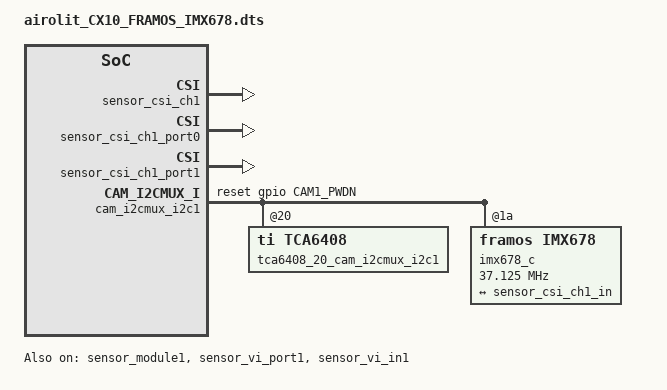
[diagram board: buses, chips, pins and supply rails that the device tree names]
// SPDX-License-Identifier: GPL-2.0
/*
 * Airolit CX10 - FRAMOS IMX678 Camera Overlay
 *
 * Requires: airolit_CX10_COMMON.dtbo loaded FIRST
 *
 * Enables:
 *   - sensor_module1
 *   - CSI channel 1 (port 1, 2 lanes)
 *   - VI port 1
 *   - I2C channel 1 with TCA6408 expander and FRAMOS IMX678 sensor
 *
 * Hardware:
 *   - Camera connector: CAM1
 *   - CSI port: 1
 *   - I2C address: 0x1a
 *   - Video node: video1
 */

/dts-v1/;
/plugin/;

#define CAM0_PWDN    TEGRA234_MAIN_GPIO(H, 6)
#define CAM1_PWDN    TEGRA234_MAIN_GPIO(AC, 0)
#define CAM_I2C_MUX  TEGRA234_AON_GPIO(CC, 3)

/* FRAMOS TCA6408 GPIO pins */
#define PW_EN        0
#define CRESETB      1
#define XMASTER      3

#include <dt-bindings/clock/tegra234-clock.h>
#include <dt-bindings/gpio/tegra234-gpio.h>
#include <dt-bindings/tegra234-p3767-0000-common.h>

/ {
    overlay-name = "Airolit CX10 FRAMOS IMX678 Camera";
    jetson-header-name = "Jetson 24pin CSI Connector";
    compatible = JETSON_COMPATIBLE_P3768;

    // ========================================================================
    // FRAGMENT 0: Enable sensor_module1 for FRAMOS IMX678
    // ========================================================================
    fragment@0 {
        target = <&sensor_module1>;
        __overlay__ {
            status = "okay";
            badge = "imx678_front_framos";
            drivernode0 {
                status = "okay";
                devname = "imx678 9-001a";
				sysfs-device-tree = "/sys/firmware/devicetree/base/bus@0/cam_i2cmux/i2c@1/imx678_c@1a";
            };
        };
    };

    // ========================================================================
    // FRAGMENT 1: Enable VI port 2
    // ========================================================================
    fragment@1 {
        target = <&sensor_vi_port1>;
        __overlay__ {
            status = "okay";
        };
    };

    fragment@2 {
        target = <&sensor_vi_in1>;
        __overlay__ {
            status = "okay";
            bus-width = <2>;
        };
    };

    // ========================================================================
    // FRAGMENT 3: Enable CSI channel 2
    // ========================================================================
    fragment@3 {
        target = <&sensor_csi_ch1>;
        __overlay__ {
            status = "okay";
			ports {
				status = "okay";
			};
        };
    };

    fragment@4 {
        target = <&sensor_csi_ch1_port0>;
        __overlay__ {
            status = "okay";
        };
    };

	fragment@5 {
        target = <&sensor_csi_ch1_port1>;
		__overlay__ {
			status = "okay";
		};
	};

	fragment@6 {
        target = <&sensor_csi_ch1_in>;
		__overlay__ {
			status = "okay";
			bus-width = <2>;
			remote-endpoint = <&framos_imx678_out>;
		};
	};

    fragment@7 {
        target = <&sensor_csi_ch1_out>;
        __overlay__ {
            status = "okay";
        };
    };

    // ========================================================================
    // FRAGMENT 8: Add I2C channel 1 with FRAMOS IMX678 sensor
    // ========================================================================
    fragment@8 {
        /* Channel connected to CAM1 */
        target = <&cam_i2cmux_i2c1>;
        __overlay__ {
            status = "okay";
            reg = <1>;
            #address-cells = <1>;
            #size-cells = <0>;

            reset-gpios = <&gpio CAM1_PWDN GPIO_ACTIVE_HIGH>;
            xmaster-gpio = <&tca6408_20_cam_i2cmux_i2c1 XMASTER GPIO_ACTIVE_HIGH>;
            cresetb = <&tca6408_20_cam_i2cmux_i2c1 CRESETB GPIO_ACTIVE_HIGH>;
            pwdn-gpios = <&tca6408_20_cam_i2cmux_i2c1 PW_EN GPIO_ACTIVE_HIGH>;

            // ============================================================
            // TCA6408: GPIO Expander for FRAMOS IMX678
            // ============================================================
            tca6408_20_cam_i2cmux_i2c1: tca6408@20 {
                compatible = "ti,tca6408";
                gpio-controller;
                #gpio-cells = <2>;
                reg = <0x20>;
                status = "okay";
                /* P0: PW_EN */
                tca6408_20_i2c1_pw_en {
                    gpio-hog;
                    output-high;
                    gpios = <PW_EN 0>;
                    label = "pw_en";
                    status = "okay";
                };
                /* P1: CRESETB */
                tca6408_20_i2c1_cresetb {
                    gpio-hog;
                    output-high;
                    gpios = <CRESETB 0>;
                    label = "cresetb";
                    status = "okay";
                };
                /* P3: XMASTER */
                tca6408_20_i2c1_xmaster {
                    gpio-hog;
                    output-low;
                    gpios = <XMASTER 0>;
                    label = "xmaster";
                    status = "okay";
                };
            };

            // ============================================================
            // IMX678: FRAMOS Camera Sensor
            // ============================================================
            imx678_c@1a {
                compatible = "framos,imx678";
                reg = <0x1a>;
                /* Define any required hw resources needed by driver */
                /* ie. clocks, io pins, power sources */
                clocks = <&bpmp TEGRA234_CLK_EXTPERIPH1>,
                            <&bpmp TEGRA234_CLK_EXTPERIPH1>;
                clock-names = "extperiph1", "pllp_grtba";
                mclk = "extperiph1";
                clock-frequency = <37125000>;

                devnode = "video1";
                physical_w = "20.00";
                physical_h = "16.80";
                sensor_model = "imx678";

                /* Defines number of frames to be dropped by driver internally after applying */
                /* sensor crop settings. Some sensors send corrupt frames after applying */
                /* crop co-ordinates */
                post_crop_frame_drop = "0";

                /* Convert Gain to unit of dB (decibel) befor passing to kernel driver */
                use_decibel_gain = "true";

                /* if true, delay gain setting by one frame to be in sync with exposure */
                delayed_gain = "false";

                /* enable CID_SENSOR_MODE_ID for sensor modes selection */
                use_sensor_mode_id = "false";

                /* Sensor modes - copied from FRAMOS overlay */
                mode0 {
                    mclk_khz = "37125";
                    num_lanes = "2";
                    tegra_sinterface = "serial_c";
                    vc_id = "0";
                    phy_mode = "DPHY";
                    discontinuous_clk = "no";
                    dpcm_enable = "false";
                    cil_settletime = "0";
                    lane_polarity = "0";
                    active_w = "3856";
                    active_h = "2180";

                    dynamic_pixel_bit_depth = "12";
                    csi_pixel_bit_depth = "12";
                    mode_type = "bayer";
                    pixel_phase = "rggb";

                    readout_orientation = "0";
                    line_length = "6600";
                    inherent_gain = "1";
                    pix_clk_hz = "346500000";
                    serdes_pix_clk_hz = "12000000000"; /* GMSL predefine */

                    gain_factor = "10";
                    min_gain_val = "0"; /* 0dB */
                    max_gain_val = "720"; /* 72dB */
                    step_gain_val = "3"; /* 0.3 */
                    default_gain = "0";
                    min_hdr_ratio = "1";
                    max_hdr_ratio = "64";
                    framerate_factor = "1000000";
                    min_framerate = "1500000"; /* 1.5 */
                    max_framerate = "30000000"; /* 30 */
                    step_framerate = "1";
                    default_framerate= "30000000";
                    exposure_factor = "1000000";
                    min_exp_time = "27"; /* us */
                    max_exp_time = "660000"; /* us */
                    step_exp_time = "1";
                    default_exp_time = "10000";/* us */
                    embedded_metadata_height = "1";
                };
                mode1 {
                    mclk_khz = "37125";
                    num_lanes = "2";
                    tegra_sinterface = "serial_c";
                    vc_id = "0";
                    phy_mode = "DPHY";
                    discontinuous_clk = "no";
                    dpcm_enable = "false";
                    cil_settletime = "0";
                    lane_polarity = "0";
                    active_w = "2608";
                    active_h = "1964";

                    dynamic_pixel_bit_depth = "12";
                    csi_pixel_bit_depth = "12";
                    mode_type = "bayer";
                    pixel_phase = "rggb";

                    readout_orientation = "0";
                    line_length = "6600";
                    inherent_gain = "1";
                    pix_clk_hz = "346500000";
                    serdes_pix_clk_hz = "12000000000"; /* GMSL predefine */

                    gain_factor = "10";
                    min_gain_val = "0"; /* 0dB */
                    max_gain_val = "720"; /* 72dB */
                    step_gain_val = "3"; /* 0.3 */
                    default_gain = "0";
                    min_hdr_ratio = "1";
                    max_hdr_ratio = "64";
                    framerate_factor = "1000000";
                    min_framerate = "1500000"; /* 1.5 */
                    max_framerate = "33000000"; /* 33 */
                    step_framerate = "1";
                    default_framerate= "33000000";
                    exposure_factor = "1000000";
                    min_exp_time = "27"; /* us */
                    max_exp_time = "660000"; /* us */
                    step_exp_time = "1";
                    default_exp_time = "10000";/* us */
                    embedded_metadata_height = "1";
                };
                mode2 {
                    mclk_khz = "37125";
                    num_lanes = "2";
                    tegra_sinterface = "serial_c";
                    vc_id = "0";
                    phy_mode = "DPHY";
                    discontinuous_clk = "no";
                    dpcm_enable = "false";
                    cil_settletime = "0";
                    lane_polarity = "0";
                    active_w = "1920";
                    active_h = "1080";

                    dynamic_pixel_bit_depth = "12";
                    csi_pixel_bit_depth = "12";
                    mode_type = "bayer";
                    pixel_phase = "rggb";

                    readout_orientation = "0";
                    line_length = "6600";
                    inherent_gain = "1";
                    pix_clk_hz = "346500000";
                    serdes_pix_clk_hz = "12000000000"; /* GMSL predefine */

                    gain_factor = "10";
                    min_gain_val = "0"; /* 0dB */
                    max_gain_val = "720"; /* 72dB */
                    step_gain_val = "3"; /* 0.3 */
                    default_gain = "0";
                    min_hdr_ratio = "1";
                    max_hdr_ratio = "64";
                    framerate_factor = "1000000";
                    min_framerate = "1500000"; /* 1.5 */
                    max_framerate = "59000000"; /* 59 */
                    step_framerate = "1";
                    default_framerate= "59000000";
                    exposure_factor = "1000000";
                    min_exp_time = "27"; /* us */
                    max_exp_time = "660000"; /* us */
                    step_exp_time = "1";
                    default_exp_time = "10000";/* us */
                    embedded_metadata_height = "1";
                };
                mode3 {
                    mclk_khz = "37125";
                    num_lanes = "2";
                    tegra_sinterface = "serial_c";
                    vc_id = "0";
                    phy_mode = "DPHY";
                    discontinuous_clk = "no";
                    dpcm_enable = "false";
                    cil_settletime = "0";
                    lane_polarity = "0";
                    active_w = "1928";
                    active_h = "1090";

                    dynamic_pixel_bit_depth = "12";
                    csi_pixel_bit_depth = "12";
                    mode_type = "bayer";
                    pixel_phase = "rggb";

                    readout_orientation = "0";
                    line_length = "6600";
                    inherent_gain = "1";
                    pix_clk_hz = "346500000";
                    serdes_pix_clk_hz = "12000000000"; /* GMSL predefine */

                    gain_factor = "10";
                    min_gain_val = "0"; /* 0dB */
                    max_gain_val = "720"; /* 72dB */
                    step_gain_val = "3"; /* 0.3 */
                    default_gain = "0";
                    min_hdr_ratio = "1";
                    max_hdr_ratio = "64";
                    framerate_factor = "1000000";
                    min_framerate = "1500000"; /* 1.5 */
                    max_framerate = "30000000"; /* 30 */
                    step_framerate = "1";
                    default_framerate= "30000000";
                    exposure_factor = "1000000";
                    min_exp_time = "27"; /* us */
                    max_exp_time = "660000"; /* us */
                    step_exp_time = "1";
                    default_exp_time = "10000";/* us */
                    embedded_metadata_height = "1";
                };
                mode4 {
                    mclk_khz = "37125";
                    num_lanes = "2";
                    tegra_sinterface = "serial_c";
                    vc_id = "0";
                    phy_mode = "DPHY";
                    discontinuous_clk = "no";
                    dpcm_enable = "false";
                    cil_settletime = "0";
                    lane_polarity = "0";
                    active_w = "3856";
                    active_h = "2180";

                    dynamic_pixel_bit_depth = "10";
                    csi_pixel_bit_depth = "10";
                    mode_type = "bayer";
                    pixel_phase = "rggb";

                    readout_orientation = "0";
                    line_length = "6600";
                    inherent_gain = "1";
                    pix_clk_hz = "346500000";
                    serdes_pix_clk_hz = "12000000000"; /* GMSL predefine */

                    gain_factor = "10";
                    min_gain_val = "0"; /* 0dB */
                    max_gain_val = "720"; /* 72dB */
                    step_gain_val = "3"; /* 0.3 */
                    default_gain = "0";
                    min_hdr_ratio = "1";
                    max_hdr_ratio = "64";
                    framerate_factor = "1000000";
                    min_framerate = "1500000"; /* 1.5 */
                    max_framerate = "30000000"; /* 30 */
                    step_framerate = "1";
                    default_framerate= "30000000";
                    exposure_factor = "1000000";
                    min_exp_time = "27"; /* us */
                    max_exp_time = "660000"; /* us */
                    step_exp_time = "1";
                    default_exp_time = "10000";/* us */
                    embedded_metadata_height = "1";
                };
                mode5 {
                    mclk_khz = "37125";
                    num_lanes = "2";
                    tegra_sinterface = "serial_c";
                    vc_id = "0";
                    phy_mode = "DPHY";
                    discontinuous_clk = "no";
                    dpcm_enable = "false";
                    cil_settletime = "0";
                    lane_polarity = "0";
                    active_w = "2608";
                    active_h = "1964";

                    dynamic_pixel_bit_depth = "10";
                    csi_pixel_bit_depth = "10";
                    mode_type = "bayer";
                    pixel_phase = "rggb";

                    readout_orientation = "0";
                    line_length = "6600";
                    inherent_gain = "1";
                    pix_clk_hz = "346500000";
                    serdes_pix_clk_hz = "12000000000"; /* GMSL predefine */

                    gain_factor = "10";
                    min_gain_val = "0"; /* 0dB */
                    max_gain_val = "720"; /* 72dB */
                    step_gain_val = "3"; /* 0.3 */
                    default_gain = "0";
                    min_hdr_ratio = "1";
                    max_hdr_ratio = "64";
                    framerate_factor = "1000000";
                    min_framerate = "1500000"; /* 1.5 */
                    max_framerate = "33000000"; /* 33 */
                    step_framerate = "1";
                    default_framerate= "33000000";
                    exposure_factor = "1000000";
                    min_exp_time = "27"; /* us */
                    max_exp_time = "660000"; /* us */
                    step_exp_time = "1";
                    default_exp_time = "10000";/* us */
                    embedded_metadata_height = "1";
                };
                mode6 {
                    mclk_khz = "37125";
                    num_lanes = "2";
                    tegra_sinterface = "serial_c";
                    vc_id = "0";
                    phy_mode = "DPHY";
                    discontinuous_clk = "no";
                    dpcm_enable = "false";
                    cil_settletime = "0";
                    lane_polarity = "0";
                    active_w = "1920";
                    active_h = "1080";

                    dynamic_pixel_bit_depth = "10";
                    csi_pixel_bit_depth = "10";
                    mode_type = "bayer";
                    pixel_phase = "rggb";

                    readout_orientation = "0";
                    line_length = "6600";
                    inherent_gain = "1";
                    pix_clk_hz = "346500000";
                    serdes_pix_clk_hz = "12000000000"; /* GMSL predefine */

                    gain_factor = "10";
                    min_gain_val = "0"; /* 0dB */
                    max_gain_val = "720"; /* 72dB */
                    step_gain_val = "3"; /* 0.3 */
                    default_gain = "0";
                    min_hdr_ratio = "1";
                    max_hdr_ratio = "64";
                    framerate_factor = "1000000";
                    min_framerate = "1500000"; /* 1.5 */
                    max_framerate = "59000000"; /* 59 */
                    step_framerate = "1";
                    default_framerate= "59000000";
                    exposure_factor = "1000000";
                    min_exp_time = "27"; /* us */
                    max_exp_time = "660000"; /* us */
                    step_exp_time = "1";
                    default_exp_time = "10000";/* us */
                    embedded_metadata_height = "1";
                };
                mode7 {
                    mclk_khz = "37125";
                    num_lanes = "2";
                    tegra_sinterface = "serial_c";
                    vc_id = "0";
                    phy_mode = "DPHY";
                    discontinuous_clk = "no";
                    dpcm_enable = "false";
                    cil_settletime = "0";
                    lane_polarity = "0";
                    active_w = "3872";
                    active_h = "4568";

                    dynamic_pixel_bit_depth = "10";
                    csi_pixel_bit_depth = "10";
                    mode_type = "bayer_wdr_dol";
                    pixel_phase = "rggb";

                    readout_orientation = "0";
                    line_length = "6600";
                    inherent_gain = "1";
                    pix_clk_hz = "346500000";
                    serdes_pix_clk_hz = "12000000000"; /* GMSL predefine */

                    gain_factor = "10";
                    min_gain_val = "0"; /* 0dB */
                    max_gain_val = "720"; /* 72dB */
                    step_gain_val = "3"; /* 0.3 */
                    default_gain = "0";
                    min_hdr_ratio = "16";
                    max_hdr_ratio = "16";
                    framerate_factor = "1000000";
                    min_framerate = "1500000"; /* 1.5 */
                    max_framerate = "30000000"; /* 60 */
                    step_framerate = "1";
                    default_framerate= "30000000";
                    exposure_factor = "1000000";
                    min_exp_time = "948"; /* us */
                    max_exp_time = "38874"; /* us */
                    step_exp_time = "1";
                    default_exp_time = "10000";/* us */
                    embedded_metadata_height = "1";

                    /* HDR */
                    num_of_exposure = "2";
                    num_of_lines_offset_0 = "124";
                    num_of_ignored_pixels = "16";
                    num_of_left_margin_pixels = "8";
                    num_of_right_margin_pixels = "8";
                };
                mode8 {
                    mclk_khz = "37125";
                    num_lanes = "2";
                    tegra_sinterface = "serial_c";
                    vc_id = "0";
                    phy_mode = "DPHY";
                    discontinuous_clk = "no";
                    dpcm_enable = "false";
                    cil_settletime = "0";
                    lane_polarity = "0";
                    active_w = "3872";
                    active_h = "4568";

                    dynamic_pixel_bit_depth = "12";
                    csi_pixel_bit_depth = "12";
                    mode_type = "bayer_wdr_dol";
                    pixel_phase = "rggb";

                    readout_orientation = "0";
                    line_length = "6600";
                    inherent_gain = "1";
                    pix_clk_hz = "346500000";
                    serdes_pix_clk_hz = "12000000000"; /* GMSL predefine */

                    gain_factor = "10";
                    min_gain_val = "0"; /* 0dB */
                    max_gain_val = "720"; /* 72dB */
                    step_gain_val = "3"; /* 0.3 */
                    default_gain = "0";
                    min_hdr_ratio = "16";
                    max_hdr_ratio = "16";
                    framerate_factor = "1000000";
                    min_framerate = "1500000"; /* 1.5 */
                    max_framerate = "30000000"; /* 60 */
                    step_framerate = "1";
                    default_framerate= "30000000";
                    exposure_factor = "1000000";
                    min_exp_time = "948"; /* us */
                    max_exp_time = "38874"; /* us */
                    step_exp_time = "1";
                    default_exp_time = "10000";/* us */
                    embedded_metadata_height = "1";

                    /* HDR */
                    num_of_exposure = "2";
                    num_of_lines_offset_0 = "124";
                    num_of_ignored_pixels = "16";
                    num_of_left_margin_pixels = "8";
                    num_of_right_margin_pixels = "8";
                };
                mode9 {
                    mclk_khz = "37125";
                    num_lanes = "2";
                    tegra_sinterface = "serial_c";
                    vc_id = "0";
                    phy_mode = "DPHY";
                    discontinuous_clk = "no";
                    dpcm_enable = "false";
                    cil_settletime = "0";
                    lane_polarity = "0";
                    active_w = "1944";
                    active_h = "2284";

                    dynamic_pixel_bit_depth = "12";
                    csi_pixel_bit_depth = "12";
                    mode_type = "bayer_wdr_dol";
                    pixel_phase = "rggb";

                    readout_orientation = "0";
                    line_length = "6600";
                    inherent_gain = "1";
                    pix_clk_hz = "346500000";
                    serdes_pix_clk_hz = "12000000000"; /* GMSL predefine */

                    gain_factor = "10";
                    min_gain_val = "0"; /* 0dB */
                    max_gain_val = "720"; /* 72dB */
                    step_gain_val = "3"; /* 0.3 */
                    default_gain = "0";
                    min_hdr_ratio = "16";
                    max_hdr_ratio = "16";
                    framerate_factor = "1000000";
                    min_framerate = "1500000"; /* 1.5 */
                    max_framerate = "30000000"; /* 30 */
                    step_framerate = "1";
                    default_framerate= "30000000";
                    exposure_factor = "1000000";
                    min_exp_time = "948"; /* us */
                    max_exp_time = "38874"; /* us */
                    step_exp_time = "1";
                    default_exp_time = "10000";/* us */
                    embedded_metadata_height = "1";

                    /* HDR */
                    num_of_exposure = "2";
                    num_of_lines_offset_0 = "52";
                    num_of_ignored_pixels = "16";
                    num_of_left_margin_pixels = "4";
                    num_of_right_margin_pixels = "4";
                };

                ports {
                    #address-cells = <1>;
                    #size-cells = <0>;
                    port@0 {
                        reg = <0>;
                        framos_imx678_out: endpoint {
                            vc-id = <0>;
                            port-index = <2>;
                            bus-width = <2>;
                            remote-endpoint = <&sensor_csi_ch1_in>;
                        };
                    };
                };
            };
        };
    };
};
